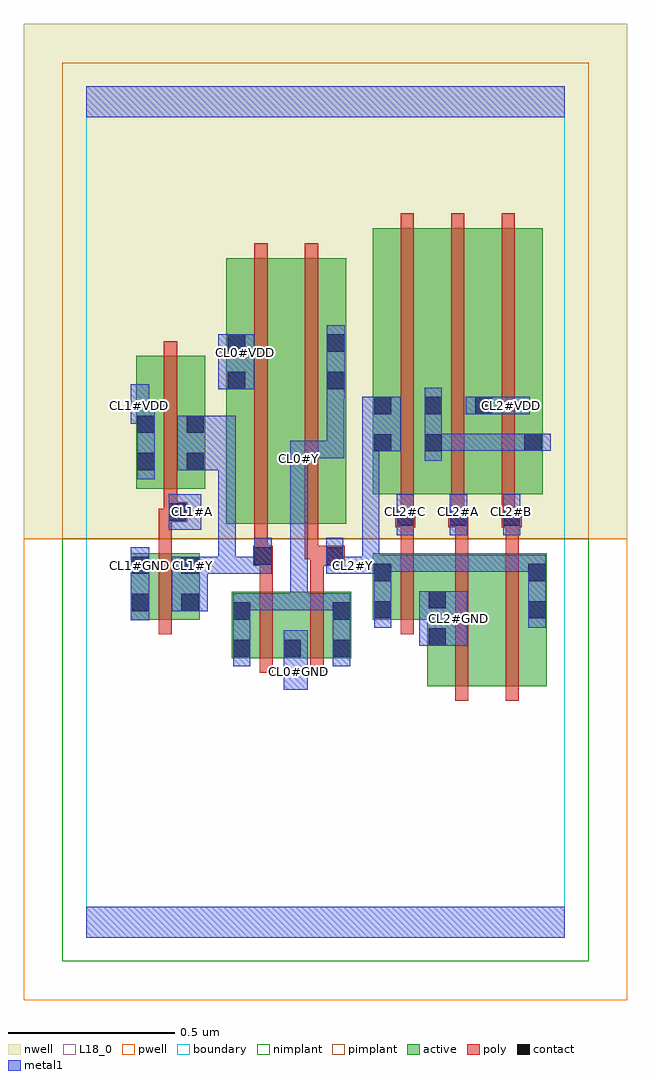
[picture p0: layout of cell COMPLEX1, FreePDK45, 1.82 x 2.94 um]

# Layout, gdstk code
import gdstk
lib = gdstk.Library(unit=1e-6, precision=1e-09)
def R(c, l, rs):  # rectangles x0, y0, x1, y1
    for r in rs: c.add(gdstk.rectangle(r[:2], r[2:], *l))
def A(c, l, x, y, w, h, nx, ny, dx, dy):  # array of equal rectangles
    R(c, l, [(x+i*dx, y+j*dy, x+i*dx+w, y+j*dy+h) for i in range(nx) for j in range(ny)])
active = (1, 0)
pwell = (2, 0)
nwell = (3, 0)
nimplant = (4, 0)
pimplant = (5, 0)
poly = (9, 0)
contact = (10, 0)
metal1 = (11, 0)
L18_0 = (18, 0)
boundary = (235, 0)

complex1 = lib.new_cell('COMPLEX1')
A(complex1, active, 0.862, 1.334, 0.06, 0.71, 3, 1, 0.152, 0)
R(complex1, active, [(1.026,0.756,1.086,1.156), (1.026,0.756,1.206,1.156), (1.206,0.756,1.386,1.156), (1.326,0.756,1.386,1.156), (0.438,0.84,0.498,1.04), (0.438,0.84,0.65,1.04), (0.59,0.84,0.798,1.04), (0.59,0.84,0.65,0.9), (0.738,0.84,0.798,1.04), (0.134,0.956,0.194,1.156), (0.134,0.956,0.342,1.156), (0.282,0.956,0.342,1.156), (0.862,0.956,1.086,1.156), (0.862,0.956,0.922,1.156), (0.422,1.244,0.482,2.044), (0.422,1.244,0.602,2.044), (0.602,1.244,0.782,2.044), (0.722,1.244,0.782,2.044), (0.862,1.334,1.074,2.134), (1.014,1.334,1.226,2.134), (1.166,1.334,1.374,2.134), (1.314,1.334,1.374,2.044), (0.15,1.35,0.21,1.644), (0.15,1.35,0.358,1.75), (0.298,1.35,0.358,1.644)])
R(complex1, pwell, [(-0.188,-0.188,1.628,1.2)])
R(complex1, nwell, [(-0.188,1.2,1.628,2.748)])
R(complex1, nimplant, [(-0.072,-0.072,1.512,1.2)])
R(complex1, pimplant, [(-0.072,1.2,1.512,2.632)])
A(complex1, poly, 0.93, 1.234, 0.06, 0.06, 3, 1, 0.16, 0)
A(complex1, poly, 0.946, 1.254, 0.04, 0.076, 3, 1, 0.152, 0)
A(complex1, poly, 0.946, 1.29, 0.04, 0.888, 3, 1, 0.152, 0)
R(complex1, poly, [(1.11,0.712,1.15,1.2), (1.262,0.712,1.302,1.2), (0.522,0.796,0.562,1.084), (0.674,0.796,0.714,1.084), (0.218,0.912,0.258,1.2), (0.946,0.912,0.986,1.2), (0.522,1.044,0.562,1.158), (0.674,1.044,0.714,1.158), (0.502,1.118,0.562,1.178), (0.674,1.118,0.778,1.178), (0.506,1.138,0.546,1.178), (0.506,1.138,0.546,1.178), (0.506,1.138,0.546,1.24), (0.658,1.138,0.698,1.24), (0.658,1.138,0.714,1.178), (0.674,1.138,0.714,1.178), (0.218,1.16,0.258,1.29), (0.946,1.16,0.986,1.274), (1.11,1.16,1.15,1.274), (1.262,1.16,1.302,1.274), (0.506,1.2,0.546,2.088), (0.658,1.2,0.698,2.088), (0.946,1.234,0.986,1.274), (0.946,1.234,0.986,1.274), (1.11,1.234,1.15,1.274), (1.11,1.234,1.15,1.274), (1.262,1.234,1.302,1.274), (1.262,1.234,1.302,1.274), (0.218,1.25,0.274,1.29), (0.234,1.25,0.274,1.29), (0.234,1.25,0.304,1.31), (0.234,1.27,0.274,1.346), (0.234,1.306,0.274,1.794)])
A(complex1, contact, 0.934, 1.238, 0.052, 0.052, 3, 1, 0.16, 0)
A(complex1, contact, 0.866, 1.574, 0.052, 0.052, 3, 1, 0.152, 0)
R(complex1, contact, [(0.442,0.844,0.494,0.896), (0.594,0.844,0.646,0.896), (0.742,0.844,0.794,0.896), (1.03,0.878,1.082,0.93), (0.442,0.956,0.494,1.008), (0.742,0.956,0.794,1.008), (0.866,0.96,0.918,1.012), (1.33,0.96,1.382,1.012), (0.138,0.982,0.19,1.034), (0.286,0.982,0.338,1.034), (1.03,0.99,1.082,1.042), (0.866,1.072,0.918,1.124), (1.33,1.072,1.382,1.124), (0.138,1.094,0.19,1.146), (0.286,1.094,0.338,1.146), (0.506,1.122,0.558,1.174), (0.722,1.122,0.774,1.174), (0.248,1.254,0.3,1.306), (0.154,1.406,0.206,1.458), (0.302,1.406,0.354,1.458), (0.866,1.462,0.918,1.514), (1.018,1.462,1.07,1.514), (1.318,1.464,1.37,1.516), (0.154,1.518,0.206,1.57), (0.302,1.518,0.354,1.57), (0.426,1.65,0.478,1.702), (0.726,1.65,0.778,1.702), (0.426,1.762,0.478,1.814), (0.726,1.762,0.778,1.814)])
A(complex1, metal1, 0.934, 1.21, 0.052, 0.124, 3, 1, 0.16, 0)
R(complex1, metal1, [(0,0,1.44,0.092), (0.594,0.746,0.666,0.924), (0.442,0.816,0.494,1.036), (0.742,0.816,0.794,1.036), (1.002,0.878,1.146,1.042), (0.866,0.932,0.918,1.152), (1.33,0.932,1.382,1.152), (0.134,0.954,0.19,1.174), (0.258,0.982,0.366,1.146), (0.442,0.984,0.558,1.036), (0.506,0.984,0.558,1.036), (0.506,0.984,0.666,1.036), (0.614,0.984,0.666,1.036), (0.614,0.984,0.772,1.036), (0.614,0.984,0.666,1.438), (0.72,0.984,0.772,1.036), (0.72,0.984,0.794,1.036), (0.266,1.094,0.45,1.146), (0.314,1.094,0.366,1.146), (0.398,1.094,0.536,1.146), (0.398,1.094,0.45,1.458), (0.484,1.094,0.536,1.146), (0.484,1.094,0.558,1.146), (0.506,1.094,0.558,1.202), (0.722,1.094,0.798,1.146), (0.722,1.094,0.774,1.202), (0.746,1.094,0.854,1.146), (0.802,1.094,0.882,1.146), (0.83,1.094,0.918,1.152), (0.866,1.094,0.918,1.146), (0.83,1.1,0.882,1.152), (0.83,1.1,0.882,1.152), (0.83,1.1,0.882,1.514), (0.866,1.1,1.028,1.152), (0.976,1.1,1.028,1.152), (0.976,1.1,1.028,1.152), (0.976,1.1,1.028,1.152), (0.976,1.1,1.18,1.152), (1.128,1.1,1.18,1.152), (1.128,1.1,1.18,1.152), (1.128,1.1,1.18,1.152), (1.128,1.1,1.382,1.152), (1.33,1.1,1.382,1.152), (1.33,1.1,1.382,1.152), (0.248,1.226,0.346,1.334), (0.154,1.378,0.206,1.598), (0.614,1.386,0.666,1.438), (0.614,1.386,0.666,1.438), (0.614,1.386,0.666,1.438), (0.614,1.386,0.666,1.438), (0.614,1.386,0.666,1.494), (0.274,1.406,0.45,1.57), (0.398,1.406,0.45,1.458), (0.398,1.406,0.45,1.458), (1.018,1.434,1.07,1.654), (0.614,1.442,0.776,1.494), (0.724,1.442,0.776,1.494), (0.724,1.442,0.776,1.674), (0.83,1.462,0.946,1.626), (1.018,1.464,1.138,1.516), (1.086,1.464,1.138,1.516), (1.086,1.464,1.232,1.516), (1.18,1.464,1.232,1.516), (1.18,1.464,1.342,1.516), (1.29,1.464,1.342,1.516), (1.29,1.464,1.342,1.516), (1.29,1.464,1.398,1.516), (0.134,1.546,0.19,1.664), (0.138,1.546,0.206,1.598), (1.142,1.574,1.334,1.626), (0.724,1.622,0.778,1.842), (0.398,1.65,0.506,1.814), (0,2.468,1.44,2.56)])
A(complex1, L18_0, 0.934, 1.21, 0.052, 0.124, 3, 1, 0.16, 0)
A(complex1, L18_0, 0.934, 1.254, 0.052, 0.052, 3, 1, 0.16, 0)
R(complex1, L18_0, [(0,0,1.44,0.092), (0.594,0.746,0.666,0.924), (0.614,0.774,0.666,0.826), (0.442,0.816,0.494,1.036), (0.742,0.816,0.794,1.036), (1.002,0.878,1.146,1.042), (0.866,0.932,0.918,1.152), (1.33,0.932,1.382,1.152), (1.094,0.934,1.146,0.986), (0.134,0.954,0.19,1.174), (0.258,0.982,0.366,1.146), (0.442,0.984,0.558,1.036), (0.506,0.984,0.558,1.036), (0.506,0.984,0.666,1.036), (0.614,0.984,0.666,1.036), (0.614,0.984,0.666,1.438), (0.614,0.984,0.772,1.036), (0.72,0.984,0.772,1.036), (0.72,0.984,0.794,1.036), (0.134,1.094,0.186,1.146), (0.266,1.094,0.45,1.146), (0.294,1.094,0.346,1.146), (0.314,1.094,0.366,1.146), (0.398,1.094,0.45,1.458), (0.398,1.094,0.536,1.146), (0.484,1.094,0.536,1.146), (0.484,1.094,0.558,1.146), (0.506,1.094,0.558,1.202), (0.722,1.094,0.774,1.202), (0.722,1.094,0.798,1.146), (0.746,1.094,0.854,1.146), (0.774,1.094,0.826,1.146), (0.802,1.094,0.882,1.146), (0.83,1.094,0.918,1.152), (0.866,1.094,0.918,1.146), (0.83,1.1,0.882,1.152), (0.83,1.1,0.882,1.152), (0.83,1.1,0.882,1.514), (0.866,1.1,1.028,1.152), (0.976,1.1,1.028,1.152), (0.976,1.1,1.028,1.152), (0.976,1.1,1.028,1.152), (0.976,1.1,1.18,1.152), (1.128,1.1,1.18,1.152), (1.128,1.1,1.18,1.152), (1.128,1.1,1.18,1.152), (1.128,1.1,1.382,1.152), (1.33,1.1,1.382,1.152), (1.33,1.1,1.382,1.152), (0.248,1.226,0.346,1.334), (0.294,1.254,0.346,1.306), (0.154,1.378,0.206,1.598), (0.614,1.386,0.666,1.438), (0.614,1.386,0.666,1.438), (0.614,1.386,0.666,1.438), (0.614,1.386,0.666,1.438), (0.614,1.386,0.666,1.494), (0.274,1.406,0.45,1.57), (0.398,1.406,0.45,1.458), (0.398,1.406,0.45,1.458), (0.614,1.414,0.666,1.466), (0.614,1.442,0.776,1.494), (0.724,1.442,0.776,1.494), (0.724,1.442,0.776,1.674), (0.83,1.462,0.946,1.626), (0.134,1.546,0.19,1.664), (0.138,1.546,0.206,1.598), (0.134,1.574,0.186,1.626), (1.142,1.574,1.334,1.626), (1.254,1.574,1.306,1.626), (0.724,1.622,0.778,1.842), (0.398,1.65,0.506,1.814), (0.454,1.734,0.506,1.786), (0,2.468,1.44,2.56)])
R(complex1, boundary, [(0,0,1.44,2.56)])
complex1.add(gdstk.Label('CL0#GND', (0.64,0.8), layer=11, texttype=0))
complex1.add(gdstk.Label('CL0#VDD', (0.48,1.76), layer=11, texttype=0))
complex1.add(gdstk.Label('CL0#Y', (0.64,1.44), layer=11, texttype=0))
complex1.add(gdstk.Label('CL1#A', (0.32,1.28), layer=11, texttype=0))
complex1.add(gdstk.Label('CL1#GND', (0.16,1.12), layer=11, texttype=0))
complex1.add(gdstk.Label('CL1#VDD', (0.16,1.6), layer=11, texttype=0))
complex1.add(gdstk.Label('CL1#Y', (0.32,1.12), layer=11, texttype=0))
complex1.add(gdstk.Label('CL2#A', (1.12,1.28), layer=11, texttype=0))
complex1.add(gdstk.Label('CL2#B', (1.28,1.28), layer=11, texttype=0))
complex1.add(gdstk.Label('CL2#C', (0.96,1.28), layer=11, texttype=0))
complex1.add(gdstk.Label('CL2#GND', (1.12,0.96), layer=11, texttype=0))
complex1.add(gdstk.Label('CL2#VDD', (1.28,1.6), layer=11, texttype=0))
complex1.add(gdstk.Label('CL2#Y', (0.8,1.12), layer=11, texttype=0))

lib.write_gds('COMPLEX1.gds')
